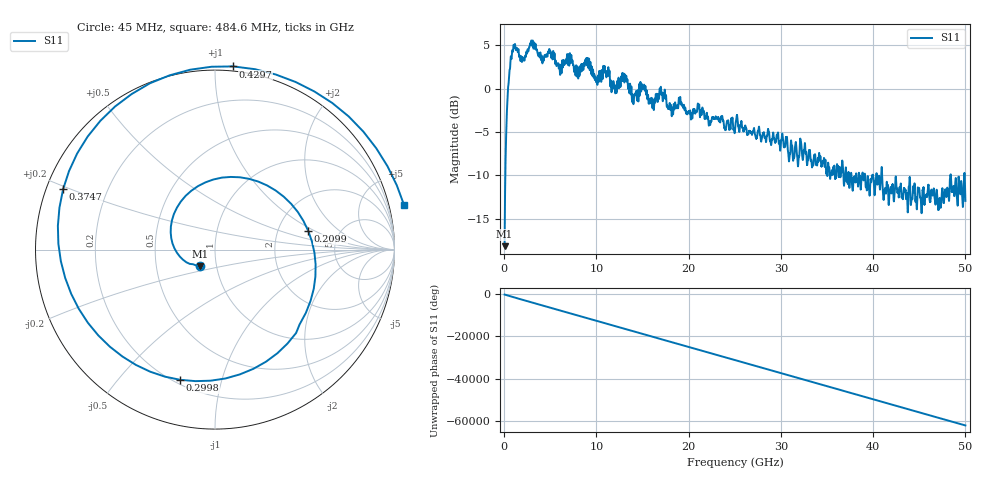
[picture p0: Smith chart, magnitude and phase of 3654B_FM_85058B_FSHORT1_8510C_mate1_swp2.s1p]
!Created with skrf (http://scikit-rf.org).
# Hz S RI R 50.0
!freq ReS11 ImS11
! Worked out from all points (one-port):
!   10001 points, 45 MHz to 50 GHz, reference 50 ohm
!   lowest |S11| = -18.1 dB at 45 MHz (marker M1), VSWR 1.28, Z = 41.8 - j7.92 ohm
!   |S11| at or under -10 dB: 39.12 GHz to 39.92 GHz (797.7 MHz wide, 2.02 % of centre); 40.98 GHz to 48.37 GHz (7.393 GHz wide, 16.5 % of centre); 48.43 GHz to 49.88 GHz (1.457 GHz wide, 2.96 % of centre) (the widest 3 of 21)
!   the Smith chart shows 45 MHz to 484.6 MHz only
!   S11 on the Smith chart (normalised r, x): 45 MHz: 0.84, -0.16; 209.9 MHz: 2.98, +0.86; 299.8 MHz: 0.22, -0.74; 374.7 MHz: 0.05, +0.19; 429.7 MHz: -0.03, +1.10; 484.6 MHz: -2.67, +7.71
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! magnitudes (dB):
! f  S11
! 45 MHz  -18.1
! 209.9 MHz  -5.5
! 299.8 MHz  -2.5
! 374.7 MHz  -0.8
! 429.7 MHz  0.2
! 484.6 MHz  0.7
! 794.3 MHz  3.4
! 1.174 GHz  5.1
! 1.983 GHz  3.6
! 3.032 GHz  5.0
! 6.289 GHz  3.2
! 8.992 GHz  2.7
! 10.02 GHz  1.2
! 10.95 GHz  1.8
! 11.84 GHz  0.8
! 12.53 GHz  1.1
! 14.06 GHz  -1.2
! 14.99 GHz  -0.1
! 16.02 GHz  -1.2
! 17.05 GHz  -0.7
! 18.78 GHz  -1.9
! 25.02 GHz  -4.8
! 31.27 GHz  -7.4
! 37.51 GHz  -10.5
! 43.76 GHz  -14.2
! 47.19 GHz  -12.7
! 48.52 GHz  -11.9
! 50 GHz  -12.9
